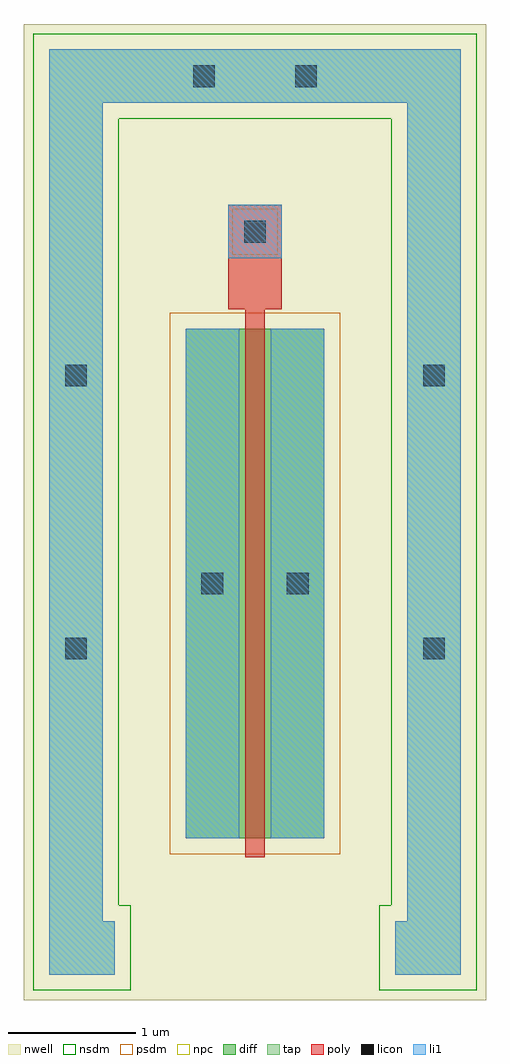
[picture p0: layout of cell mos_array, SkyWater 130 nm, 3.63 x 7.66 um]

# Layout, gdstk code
import gdstk
lib = gdstk.Library(unit=1e-6, precision=1e-09)
def R(c, l, rs):  # rectangles x0, y0, x1, y1
    for r in rs: c.add(gdstk.rectangle(r[:2], r[2:], *l))
def P(c, l, *ps):  # polygons
    for p in ps: c.add(gdstk.Polygon(p, *l))
nwell = (64, 20)
diff = (65, 20)
tap = (65, 44)
poly = (66, 20)
licon = (66, 44)
li1 = (67, 20)
nsdm = (93, 44)
psdm = (94, 20)
npc = (95, 20)

mos_array = lib.new_cell('mos_array')
R(mos_array, nwell, [(-1.27,-1.27,2.36,6.39), (-0.15,-0.15,1.24,5.27)])
R(mos_array, diff, [(0,0,1.09,4)])
P(mos_array, tap, [(-1.07,-1.07),(-1.07,6.19),(2.16,6.19),(2.16,-1.07),(1.645,-1.07),(1.645,-0.65),(1.74,-0.65),(1.74,5.77),(-0.65,5.77),(-0.65,-0.65),(-0.555,-0.65),(-0.555,-1.07)])
R(mos_array, poly, [(0.47,-0.15,0.62,4), (0.47,4,0.62,4.15), (0.47,4,0.62,4.15), (0.335,4.15,0.755,4.97)])
R(mos_array, licon, [(-0.945,1.405,-0.775,1.575), (1.865,1.405,2.035,1.575), (0.125,1.915,0.295,2.085), (0.795,1.915,0.965,2.085), (-0.945,3.545,-0.775,3.715), (1.865,3.545,2.035,3.715), (0.46,4.675,0.63,4.845), (0.06,5.895,0.23,6.065), (0.86,5.895,1.03,6.065)])
R(mos_array, li1, [(0,0,0.42,4), (0.67,0,1.09,4), (0.335,4.55,0.755,4.97)])
P(mos_array, li1, [(-1.07,-1.07),(-1.07,6.19),(2.16,6.19),(2.16,-1.07),(1.645,-1.07),(1.645,-0.65),(1.74,-0.65),(1.74,5.77),(-0.65,5.77),(-0.65,-0.65),(-0.555,-0.65),(-0.555,-1.07)])
P(mos_array, nsdm, [(-1.195,-1.195),(-1.195,6.315),(2.285,6.315),(2.285,-1.195),(1.52,-1.195),(1.52,-0.525),(1.615,-0.525),(1.615,5.645),(-0.525,5.645),(-0.525,-0.525),(-0.43,-0.525),(-0.43,-1.195)])
R(mos_array, psdm, [(-0.125,-0.125,1.215,4.125)])
R(mos_array, npc, [(0.365,4.58,0.725,4.94)])

lib.write_gds('mos_array.gds')
